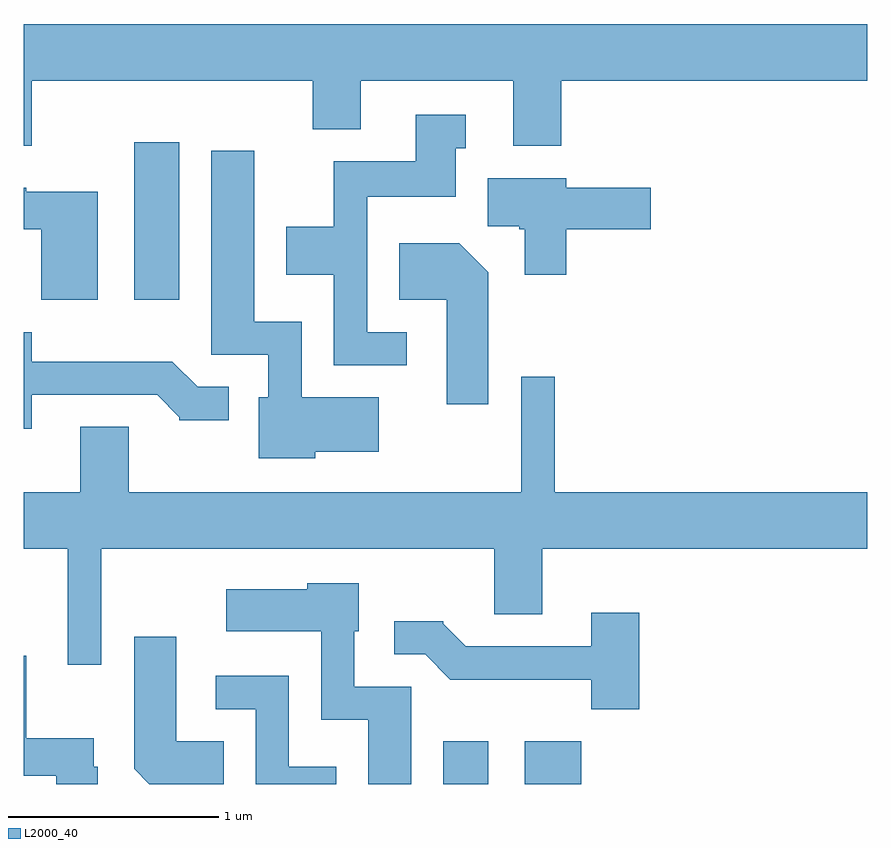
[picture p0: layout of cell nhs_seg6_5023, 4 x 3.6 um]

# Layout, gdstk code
import gdstk
lib = gdstk.Library(unit=1e-6, precision=1e-09)
def R(c, l, rs):  # rectangles x0, y0, x1, y1
    for r in rs: c.add(gdstk.rectangle(r[:2], r[2:], *l))
def P(c, l, *ps):  # polygons
    for p in ps: c.add(gdstk.Polygon(p, *l))
L2000_40 = (2000, 40)

nhs_seg6_5023 = lib.new_cell('nhs_seg6_5023')
R(nhs_seg6_5023, L2000_40, [(339.601,1642.162,339.814,1642.364), (339.986,1642.162,340.254,1642.364), (338.136,1644.456,338.349,1645.204)])
P(nhs_seg6_5023, L2000_40, [(337.649,1645.496),(338.981,1645.496),(338.981,1645.266),(339.209,1645.266),(339.209,1645.496),(339.931,1645.496),(339.931,1645.186),(340.159,1645.186),(340.159,1645.496),(341.611,1645.496),(341.611,1645.764),(337.611,1645.764),(337.611,1645.186),(337.649,1645.186)],
  [(339.428,1644.304),(339.239,1644.304),(339.239,1644.946),(339.659,1644.946),(339.659,1645.176),(339.708,1645.176),(339.708,1645.334),(339.471,1645.334),(339.471,1645.114),(339.081,1645.114),(339.081,1644.804),(338.856,1644.804),(338.856,1644.576),(339.081,1644.576),(339.081,1644.146),(339.428,1644.146)],
  [(338.994,1643.736),(339.294,1643.736),(339.294,1643.994),(338.929,1643.994),(338.929,1644.354),(338.704,1644.354),(338.704,1645.164),(338.501,1645.164),(338.501,1644.196),(338.771,1644.196),(338.771,1643.994),(338.726,1643.994),(338.726,1643.706),(338.994,1643.706)],
  [(340.184,1644.791),(340.584,1644.791),(340.584,1644.989),(340.184,1644.989),(340.184,1645.034),(339.811,1645.034),(339.811,1644.806),(339.96,1644.806),(339.96,1644.791),(339.986,1644.791),(339.986,1644.576),(340.184,1644.576)],
  [(337.964,1644.969),(337.624,1644.969),(337.624,1644.989),(337.611,1644.989),(337.611,1644.791),(337.696,1644.791),(337.696,1644.456),(337.964,1644.456)],
  [(339.814,1644.587),(339.677,1644.724),(339.391,1644.724),(339.391,1644.456),(339.616,1644.456),(339.616,1643.961),(339.814,1643.961)],
  [(337.649,1644.006),(338.244,1644.006),(338.35,1643.9),(338.35,1643.886),(338.583,1643.886),(338.583,1644.044),(338.437,1644.044),(338.317,1644.164),(337.649,1644.164),(337.649,1644.304),(337.611,1644.304),(337.611,1643.846),(337.649,1643.846)],
  [(337.979,1643.276),(339.841,1643.276),(339.841,1642.966),(340.069,1642.966),(340.069,1643.276),(341.611,1643.276),(341.611,1643.544),(340.129,1643.544),(340.129,1644.093),(339.971,1644.093),(339.971,1643.544),(338.109,1643.544),(338.109,1643.854),(337.881,1643.854),(337.881,1643.544),(337.611,1643.544),(337.611,1643.276),(337.821,1643.276),(337.821,1642.728),(337.979,1642.728)],
  [(339.449,1642.624),(339.179,1642.624),(339.179,1642.886),(339.199,1642.886),(339.199,1643.114),(338.956,1643.114),(338.956,1643.084),(338.571,1643.084),(338.571,1642.886),(339.021,1642.886),(339.021,1642.466),(339.246,1642.466),(339.246,1642.162),(339.449,1642.162)],
  [(340.529,1642.974),(340.301,1642.974),(340.301,1642.814),(339.707,1642.814),(339.6,1642.921),(339.6,1642.934),(339.368,1642.934),(339.368,1642.776),(339.514,1642.776),(339.634,1642.656),(340.301,1642.656),(340.301,1642.516),(340.529,1642.516)],
  [(338.559,1642.364),(338.334,1642.364),(338.334,1642.859),(338.136,1642.859),(338.136,1642.234),(338.208,1642.162),(338.559,1642.162)],
  [(337.964,1642.244),(337.944,1642.244),(337.944,1642.379),(337.624,1642.379),(337.624,1642.769),(337.611,1642.769),(337.611,1642.201),(337.766,1642.201),(337.766,1642.162),(337.964,1642.162)],
  [(339.094,1642.244),(338.869,1642.244),(338.869,1642.674),(338.523,1642.674),(338.523,1642.516),(338.711,1642.516),(338.711,1642.162),(339.094,1642.162)])

lib.write_gds('nhs_seg6_5023.gds')
